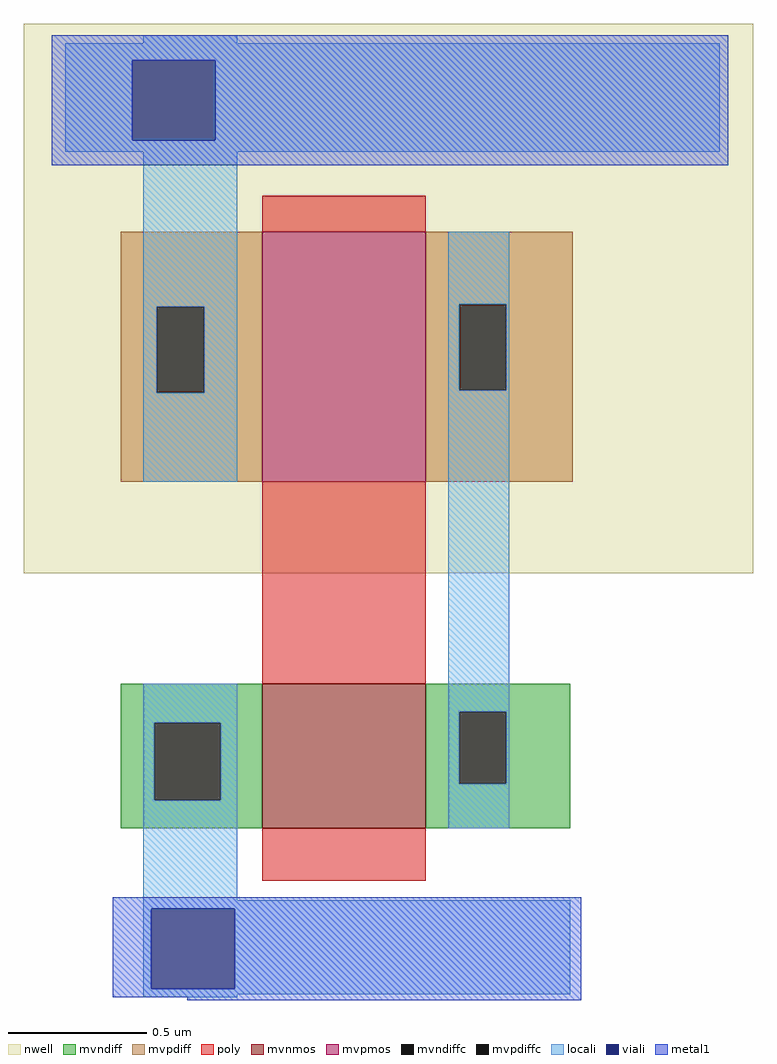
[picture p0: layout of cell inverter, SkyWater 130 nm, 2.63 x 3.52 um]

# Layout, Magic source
magic
tech sky130A
<< nwell >>
rect -107 -3 156 195
<< mvnmos >>
rect -21 -95 38 -43
<< mvpmos >>
rect -21 30 38 120
<< mvndiff >>
rect -72 -57 -21 -43
rect -72 -85 -60 -57
rect -36 -85 -21 -57
rect -72 -95 -21 -85
rect 38 -53 90 -43
rect 38 -79 50 -53
rect 67 -79 90 -53
rect 38 -95 90 -79
<< mvpdiff >>
rect -72 93 -21 120
rect -72 62 -59 93
rect -42 62 -21 93
rect -72 30 -21 62
rect 38 94 91 120
rect 38 63 50 94
rect 67 63 91 94
rect 38 30 91 63
<< mvndiffc >>
rect -60 -85 -36 -57
rect 50 -79 67 -53
<< mvpdiffc >>
rect -59 62 -42 93
rect 50 63 67 94
<< poly >>
rect -21 120 38 133
rect -21 -43 38 30
rect -21 -114 38 -95
<< locali >>
rect -64 188 -30 191
rect -92 182 144 188
rect -92 153 -68 182
rect -38 153 144 182
rect -92 149 144 153
rect -64 93 -30 149
rect -64 62 -59 93
rect -42 62 -30 93
rect -64 30 -30 62
rect 46 94 68 120
rect 46 63 50 94
rect 67 63 68 94
rect -64 -57 -30 -43
rect -64 -85 -60 -57
rect -36 -85 -30 -57
rect -64 -121 -30 -85
rect 46 -53 68 63
rect 46 -79 50 -53
rect 67 -79 68 -53
rect 46 -95 68 -79
rect -64 -124 90 -121
rect -64 -153 -61 -124
rect -31 -153 90 -124
rect -64 -155 90 -153
rect -64 -156 -30 -155
<< viali >>
rect -68 153 -38 182
rect -61 -153 -31 -124
<< metal1 >>
rect -97 182 147 191
rect -97 153 -68 182
rect -38 153 147 182
rect -97 144 147 153
rect -75 -124 94 -120
rect -75 -153 -61 -124
rect -31 -153 94 -124
rect -75 -156 94 -153
rect -48 -157 94 -156
<< end >>
